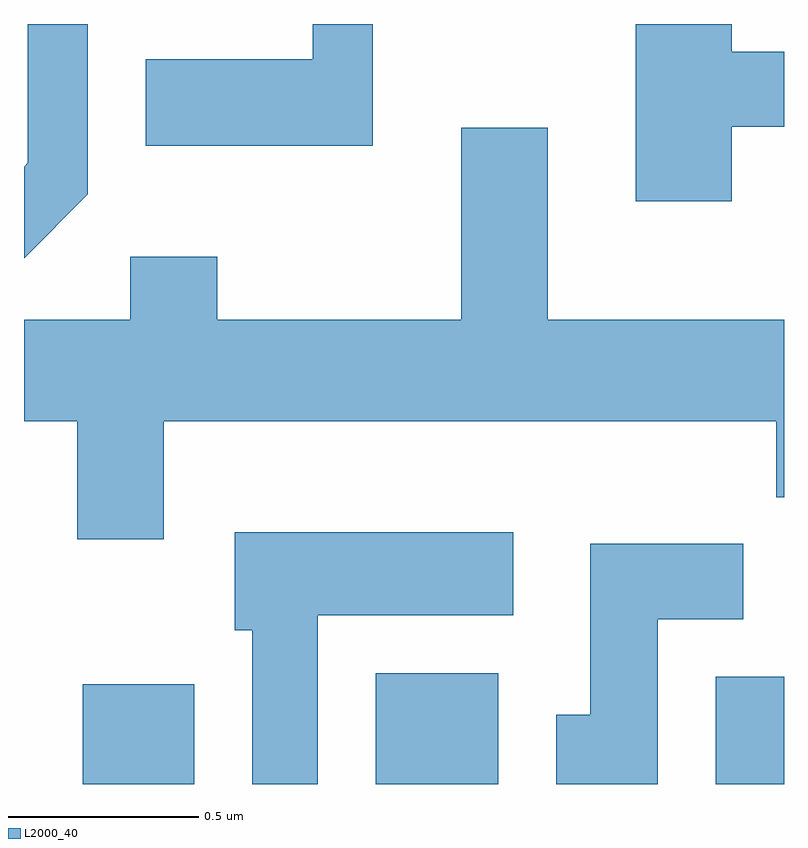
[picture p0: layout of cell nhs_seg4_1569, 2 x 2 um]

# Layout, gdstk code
import gdstk
lib = gdstk.Library(unit=1e-6, precision=1e-09)
def R(c, l, rs):  # rectangles x0, y0, x1, y1
    for r in rs: c.add(gdstk.rectangle(r[:2], r[2:], *l))
def P(c, l, *ps):  # polygons
    for p in ps: c.add(gdstk.Polygon(p, *l))
L2000_40 = (2000, 40)

nhs_seg4_1569 = lib.new_cell('nhs_seg4_1569')
R(nhs_seg4_1569, L2000_40, [(196.766,1315.982,197.059,1316.244), (197.536,1315.982,197.859,1316.274), (198.431,1315.982,198.611,1316.264)])
P(nhs_seg4_1569, L2000_40, [(197.529,1317.982),(197.371,1317.982),(197.371,1317.889),(196.931,1317.889),(196.931,1317.661),(197.529,1317.661)],
  [(196.779,1317.534),(196.779,1317.982),(196.621,1317.982),(196.621,1317.617),(196.611,1317.607),(196.611,1317.366),(196.612,1317.366)],
  [(198.474,1317.711),(198.611,1317.711),(198.611,1317.909),(198.474,1317.909),(198.474,1317.982),(198.221,1317.982),(198.221,1317.516),(198.474,1317.516)],
  [(196.979,1316.936),(198.591,1316.936),(198.591,1316.736),(198.611,1316.736),(198.611,1317.204),(197.989,1317.204),(197.989,1317.709),(197.761,1317.709),(197.761,1317.204),(197.119,1317.204),(197.119,1317.369),(196.891,1317.369),(196.891,1317.204),(196.611,1317.204),(196.611,1316.936),(196.751,1316.936),(196.751,1316.626),(196.979,1316.626)],
  [(197.384,1316.426),(197.899,1316.426),(197.899,1316.644),(197.166,1316.644),(197.166,1316.386),(197.211,1316.386),(197.211,1315.982),(197.384,1315.982)],
  [(198.279,1316.416),(198.504,1316.416),(198.504,1316.614),(198.101,1316.614),(198.101,1316.164),(198.011,1316.164),(198.011,1315.982),(198.279,1315.982)])

lib.write_gds('nhs_seg4_1569.gds')
